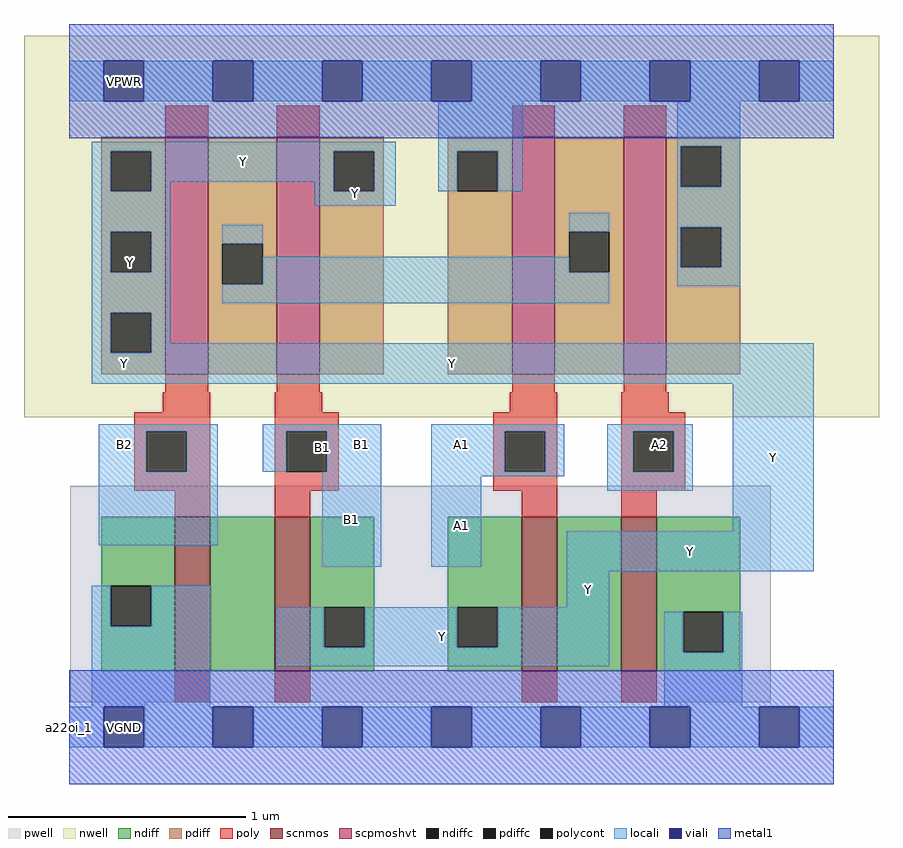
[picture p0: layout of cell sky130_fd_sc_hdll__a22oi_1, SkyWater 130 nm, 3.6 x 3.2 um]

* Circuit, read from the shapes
.subckt sky130_fd_sc_hdll__a22oi_1 A1 A2 B1 B2 VGND VNB VPB VPWR Y
XM1 n1 B2 VGND VNB sky130_fd_pr__nfet_01v8 w=0.65 l=0.15
XM2 Y B1 n1 VNB sky130_fd_pr__nfet_01v8 w=0.65 l=0.15
XM3 n2 A1 Y VNB sky130_fd_pr__nfet_01v8 w=0.65 l=0.15
XM4 VGND A2 n2 VNB sky130_fd_pr__nfet_01v8 w=0.65 l=0.15
XM5 n3 B2 Y VPB sky130_fd_pr__pfet_01v8_hvt w=1 l=0.18
XM6 Y B1 n3 VPB sky130_fd_pr__pfet_01v8_hvt w=1 l=0.18
XM7 n3 A1 VPWR VPB sky130_fd_pr__pfet_01v8_hvt w=1 l=0.18
XM8 VPWR A2 n3 VPB sky130_fd_pr__pfet_01v8_hvt w=1 l=0.18
.ends

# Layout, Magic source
magic
tech sky130A
magscale 1 2
<< nwell >>
rect -38 261 682 582
<< pwell >>
rect 1 21 591 203
rect 30 -17 64 21
<< scnmos >>
rect 89 47 119 177
rect 173 47 203 177
rect 381 47 411 177
rect 465 47 495 177
<< scpmoshvt >>
rect 81 297 117 497
rect 175 297 211 497
rect 373 297 409 497
rect 467 297 503 497
<< ndiff >>
rect 27 119 89 177
rect 27 85 35 119
rect 69 85 89 119
rect 27 47 89 85
rect 119 47 173 177
rect 203 101 257 177
rect 203 67 215 101
rect 249 67 257 101
rect 203 47 257 67
rect 319 101 381 177
rect 319 67 327 101
rect 361 67 381 101
rect 319 47 381 67
rect 411 47 465 177
rect 495 97 565 177
rect 495 63 517 97
rect 551 63 565 97
rect 495 47 565 63
<< pdiff >>
rect 27 485 81 497
rect 27 451 35 485
rect 69 451 81 485
rect 27 417 81 451
rect 27 383 35 417
rect 69 383 81 417
rect 27 349 81 383
rect 27 315 35 349
rect 69 315 81 349
rect 27 297 81 315
rect 117 407 175 497
rect 117 373 129 407
rect 163 373 175 407
rect 117 297 175 373
rect 211 485 265 497
rect 211 451 223 485
rect 257 451 265 485
rect 211 297 265 451
rect 319 485 373 497
rect 319 451 327 485
rect 361 451 373 485
rect 319 297 373 451
rect 409 417 467 497
rect 409 383 421 417
rect 455 383 467 417
rect 409 297 467 383
rect 503 489 565 497
rect 503 455 515 489
rect 549 455 565 489
rect 503 421 565 455
rect 503 387 515 421
rect 549 387 565 421
rect 503 297 565 387
<< ndiffc >>
rect 35 85 69 119
rect 215 67 249 101
rect 327 67 361 101
rect 517 63 551 97
<< pdiffc >>
rect 35 451 69 485
rect 35 383 69 417
rect 35 315 69 349
rect 129 373 163 407
rect 223 451 257 485
rect 327 451 361 485
rect 421 383 455 417
rect 515 455 549 489
rect 515 387 549 421
<< poly >>
rect 81 497 117 523
rect 175 497 211 523
rect 373 497 409 523
rect 467 497 503 523
rect 81 282 117 297
rect 175 282 211 297
rect 373 282 409 297
rect 467 282 503 297
rect 79 265 119 282
rect 55 249 119 265
rect 55 215 65 249
rect 99 215 119 249
rect 55 199 119 215
rect 89 177 119 199
rect 173 265 213 282
rect 371 265 411 282
rect 173 249 227 265
rect 173 215 183 249
rect 217 215 227 249
rect 173 199 227 215
rect 357 249 411 265
rect 357 215 367 249
rect 401 215 411 249
rect 357 199 411 215
rect 173 177 203 199
rect 381 177 411 199
rect 465 265 505 282
rect 465 249 519 265
rect 465 215 475 249
rect 509 215 519 249
rect 465 199 519 215
rect 465 177 495 199
rect 89 21 119 47
rect 173 21 203 47
rect 381 21 411 47
rect 465 21 495 47
<< polycont >>
rect 65 215 99 249
rect 183 215 217 249
rect 367 215 401 249
rect 475 215 509 249
<< locali >>
rect 0 527 29 561
rect 63 527 121 561
rect 155 527 213 561
rect 247 527 305 561
rect 339 527 397 561
rect 431 527 489 561
rect 523 527 581 561
rect 615 527 644 561
rect 19 485 275 493
rect 19 451 35 485
rect 69 459 223 485
rect 69 451 85 459
rect 19 417 85 451
rect 207 451 223 459
rect 257 451 275 485
rect 311 485 382 527
rect 311 451 327 485
rect 361 451 382 485
rect 512 489 565 527
rect 512 455 515 489
rect 549 455 565 489
rect 207 439 275 451
rect 19 383 35 417
rect 69 383 85 417
rect 19 349 85 383
rect 129 407 163 423
rect 421 417 455 433
rect 163 383 421 396
rect 163 373 455 383
rect 129 357 455 373
rect 512 421 565 455
rect 512 387 515 421
rect 549 387 565 421
rect 512 371 565 387
rect 19 315 35 349
rect 69 323 85 349
rect 69 315 627 323
rect 19 289 627 315
rect 25 249 125 255
rect 25 215 65 249
rect 99 215 125 249
rect 163 249 263 255
rect 163 215 183 249
rect 217 215 263 249
rect 25 153 125 215
rect 213 135 263 215
rect 305 249 417 255
rect 305 215 367 249
rect 401 215 417 249
rect 305 211 417 215
rect 453 249 525 255
rect 453 215 475 249
rect 509 215 525 249
rect 305 135 347 211
rect 453 199 525 215
rect 559 165 627 289
rect 419 131 627 165
rect 19 85 35 119
rect 69 85 119 119
rect 419 101 455 131
rect 19 17 119 85
rect 174 67 215 101
rect 249 67 327 101
rect 361 67 455 101
rect 174 51 455 67
rect 501 63 517 97
rect 551 63 567 97
rect 501 17 567 63
rect 0 -17 29 17
rect 63 -17 121 17
rect 155 -17 213 17
rect 247 -17 305 17
rect 339 -17 397 17
rect 431 -17 489 17
rect 523 -17 581 17
rect 615 -17 644 17
<< viali >>
rect 29 527 63 561
rect 121 527 155 561
rect 213 527 247 561
rect 305 527 339 561
rect 397 527 431 561
rect 489 527 523 561
rect 581 527 615 561
rect 29 -17 63 17
rect 121 -17 155 17
rect 213 -17 247 17
rect 305 -17 339 17
rect 397 -17 431 17
rect 489 -17 523 17
rect 581 -17 615 17
<< metal1 >>
rect 0 561 644 592
rect 0 527 29 561
rect 63 527 121 561
rect 155 527 213 561
rect 247 527 305 561
rect 339 527 397 561
rect 431 527 489 561
rect 523 527 581 561
rect 615 527 644 561
rect 0 496 644 527
rect 0 17 644 48
rect 0 -17 29 17
rect 63 -17 121 17
rect 155 -17 213 17
rect 247 -17 305 17
rect 339 -17 397 17
rect 431 -17 489 17
rect 523 -17 581 17
rect 615 -17 644 17
rect 0 -48 644 -17
<< labels >>
flabel locali s 213 135 263 215 0 FreeSans 200 0 0 0 B1
port 3 nsew signal input
flabel locali s 313 153 347 187 0 FreeSans 200 0 0 0 A1
port 1 nsew signal input
flabel locali s 229 221 263 255 0 FreeSans 200 0 0 0 B1
port 3 nsew
flabel locali s 30 221 64 255 0 FreeSans 200 0 0 0 B2
port 4 nsew signal input
flabel locali s 480 221 514 255 0 FreeSans 200 0 0 0 A2
port 2 nsew signal input
flabel locali s 313 221 347 255 0 FreeSans 200 0 0 0 A1
port 1 nsew signal input
flabel locali s 559 165 627 289 0 FreeSans 200 0 0 0 Y
port 9 nsew signal output
flabel locali s 30 289 64 323 0 FreeSans 200 0 0 0 Y
port 9 nsew
flabel metal1 s 30 527 64 561 0 FreeSans 200 0 0 0 VPWR
port 8 nsew power bidirectional
flabel metal1 s 30 -17 64 17 0 FreeSans 200 0 0 0 VGND
port 5 nsew ground bidirectional
flabel nwell s 30 527 64 561 0 FreeSans 200 0 0 0 VPB
port 7 nsew power bidirectional
flabel pwell s 30 -17 64 17 0 FreeSans 200 0 0 0 VNB
port 6 nsew ground bidirectional
rlabel comment s 0 0 0 0 4 a22oi_1
rlabel locali s 163 215 263 255 1 B1
port 3 nsew signal input
rlabel locali s 419 131 627 165 1 Y
port 9 nsew signal output
rlabel locali s 419 101 455 131 1 Y
port 9 nsew signal output
rlabel locali s 207 439 275 459 1 Y
port 9 nsew signal output
rlabel locali s 174 51 455 101 1 Y
port 9 nsew signal output
rlabel locali s 19 459 275 493 1 Y
port 9 nsew signal output
rlabel locali s 19 323 85 459 1 Y
port 9 nsew signal output
rlabel locali s 19 289 627 323 1 Y
port 9 nsew signal output
<< properties >>
string LEFsite unithd
string LEFclass CORE
string FIXED_BBOX 0 0 644 544
string GDS_FILE $PDKPATH/libs.ref/sky130_fd_sc_hdll/gds/sky130_fd_sc_hdll.gds
string LEFsymmetry X Y R90
string GDS_END 667394
string GDS_START 661588
string LEFproperties maskLayoutSubType "abstract" prCellType "standard" originalViewName "layout"
<< end >>
